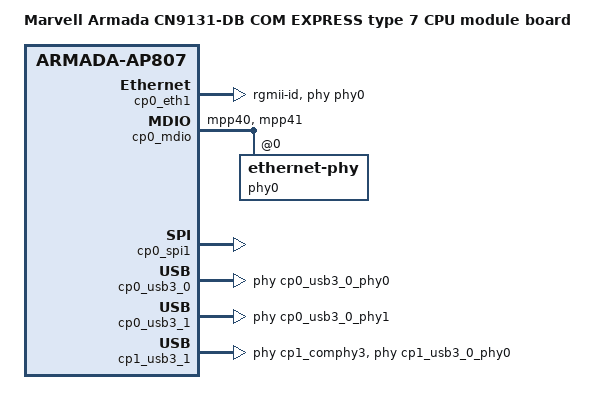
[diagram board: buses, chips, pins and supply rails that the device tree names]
// SPDX-License-Identifier: (GPL-2.0+ OR MIT)
/*
 * Copyright (C) 2023 Marvell International Ltd.
 *
 * Device tree for the CN9131-DB Com Express CPU module board.
 */

#include "cn9131-db.dtsi"

/ {
	model = "Marvell Armada CN9131-DB COM EXPRESS type 7 CPU module board";
	compatible = "marvell,cn9131-cpu-module", "marvell,cn9131", "marvell,cn9130",
		     "marvell,armada-ap807-quad", "marvell,armada-ap807";

};

&ap0_reg_sd_vccq {
	regulator-max-microvolt = <1800000>;
	states = <1800000 0x1 1800000 0x0>;
	/delete-property/ gpios;
};

&cp0_reg_usb3_vbus0 {
	/delete-property/ gpio;
};

&cp0_reg_usb3_vbus1 {
	/delete-property/ gpio;
};

&cp1_reg_usb3_vbus0 {
	/delete-property/ gpio;
};

&cp0_reg_sd_vcc {
	status = "disabled";
};

&cp0_reg_sd_vccq {
	status = "disabled";
};

&cp0_sdhci0 {
	status = "disabled";
};

&cp0_eth0 {
	status = "disabled";
};

&cp0_eth1 {
	status = "okay";
	phy = <&phy0>;
	phy-mode = "rgmii-id";
};

&cp0_eth2 {
	status = "disabled";
};

&cp0_mdio {
	status = "okay";
	pinctrl-0 = <&cp0_ge_mdio_pins>;
	phy0: ethernet-phy@0 {
		status = "okay";
	};
};

&cp0_syscon0 {
	cp0_pinctrl: pinctrl {
		compatible = "marvell,cp115-standalone-pinctrl";

		cp0_ge_mdio_pins: ge-mdio-pins {
			marvell,pins = "mpp40", "mpp41";
			marvell,function = "ge";
		};
	};
};

&cp0_sdhci0 {
	status = "disabled";
};

&cp0_spi1 {
	status = "okay";
};

&cp0_usb3_0 {
	status = "okay";
	usb-phy = <&cp0_usb3_0_phy0>;
	phy-names = "usb";
	/delete-property/ phys;
};

&cp0_usb3_1 {
	status = "okay";
	usb-phy = <&cp0_usb3_0_phy1>;
	phy-names = "usb";
	/delete-property/ phys;
};

&cp1_usb3_1 {
	status = "okay";
	usb-phy = <&cp1_usb3_0_phy0>;
	/* Generic PHY, providing serdes lanes */
	phys = <&cp1_comphy3 1>;
	phy-names = "usb";
};
